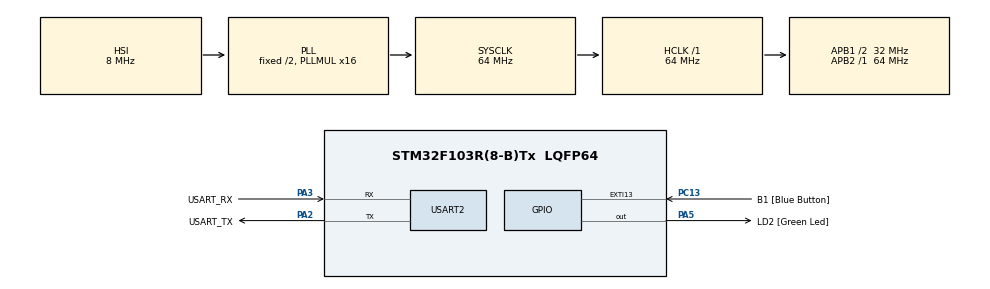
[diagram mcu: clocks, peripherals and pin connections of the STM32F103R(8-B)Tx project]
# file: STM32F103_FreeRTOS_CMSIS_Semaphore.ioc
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FREERTOS.CountingSemaphores01=myCountingSem01,2,Dynamic,NULL,0
FREERTOS.Tasks01=defaultTask,24,256,StartDefaultTask,Default,NULL,Dynamic,NULL,NULL;myTask02,24,256,StartTask02,Default,NULL,Dynamic,NULL,NULL;myTask03,24,256,StartTask03,Default,NULL,Dynamic,NULL,NULL
FREERTOS.configTOTAL_HEAP_SIZE=5000
FREERTOS.configUSE_NEWLIB_REENTRANT=1
Mcu.Family=STM32F1
Mcu.Name=STM32F103R(8-B)Tx
Mcu.Package=LQFP64
NVIC.EXTI15_10_IRQn=true\:5\:0\:false\:false\:true\:true\:true\:true\:true
NVIC.PriorityGroup=NVIC_PRIORITYGROUP_4
NVIC.TIM1_UP_IRQn=true\:15\:0\:false\:false\:true\:false\:false\:true\:true
NVIC.TimeBase=TIM1_UP_IRQn
NVIC.TimeBaseIP=TIM1
PA13.GPIO_Label=TMS
PA13.Mode=Trace_Asynchronous_SW
PA13.Signal=SYS_JTMS-SWDIO
PA14.GPIO_Label=TCK
PA14.Mode=Trace_Asynchronous_SW
PA14.Signal=SYS_JTCK-SWCLK
PA2.GPIO_Label=USART_TX
PA2.GPIO_Mode=GPIO_MODE_AF_PP
PA2.GPIO_PuPd=GPIO_NOPULL
PA2.GPIO_Speed=GPIO_SPEED_FREQ_LOW
PA2.Mode=Asynchronous
PA2.Signal=USART2_TX
PA3.GPIO_Label=USART_RX
PA3.GPIO_Mode=GPIO_MODE_AF_PP
PA3.GPIO_PuPd=GPIO_NOPULL
PA3.GPIO_Speed=GPIO_SPEED_FREQ_LOW
PA3.Mode=Asynchronous
PA3.Signal=USART2_RX
PA5.GPIO_Label=LD2 [Green Led]
PA5.GPIO_ModeDefaultOutputPP=GPIO_MODE_OUTPUT_PP
PA5.GPIO_PuPd=GPIO_NOPULL
PA5.GPIO_Speed=GPIO_SPEED_FREQ_LOW
PA5.Signal=GPIO_Output
PB3.GPIO_Label=SWO
PB3.Mode=Trace_Asynchronous_SW
PB3.Signal=SYS_JTDO-TRACESWO
PC13-TAMPER-RTC.GPIO_Label=B1 [Blue Button]
PC13-TAMPER-RTC.GPIO_PuPd=GPIO_PULLDOWN
PC13-TAMPER-RTC.Signal=GPXTI13
PC14-OSC32_IN.Mode=LSE-External-Oscillator
PC14-OSC32_IN.Signal=RCC_OSC32_IN
PC15-OSC32_OUT.Mode=LSE-External-Oscillator
PC15-OSC32_OUT.Signal=RCC_OSC32_OUT
PD0-OSC_IN.Mode=HSE-External-Clock-Source
PD0-OSC_IN.Signal=RCC_OSC_IN
PD1-OSC_OUT.Mode=HSE-External-Clock-Source
PD1-OSC_OUT.Signal=RCC_OSC_OUT
ProjectManager.HeapSize=0x200
ProjectManager.StackSize=0x400
ProjectManager.TargetToolchain=STM32CubeIDE
RCC.AHBFreq_Value=64000000
RCC.APB1CLKDivider=RCC_HCLK_DIV2
RCC.APB1Freq_Value=32000000
RCC.APB1TimFreq_Value=64000000
RCC.APB2Freq_Value=64000000
RCC.APB2TimFreq_Value=64000000
RCC.HCLKFreq_Value=64000000
RCC.PLLMUL=RCC_PLL_MUL16
RCC.RTCClockSelection=RCC_RTCCLKSOURCE_LSE
RCC.SYSCLKFreq_VALUE=64000000
RCC.SYSCLKSource=RCC_SYSCLKSOURCE_PLLCLK
RCC.USBFreq_Value=64000000
USART2.VirtualMode=VM_ASYNC
VP_FREERTOS_VS_CMSIS_V2.Mode=CMSIS_V2
VP_SYS_VS_tim1.Mode=TIM1
board=NUCLEO-F103RB

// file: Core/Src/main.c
/* USER CODE BEGIN Header */
/**
  ******************************************************************************
  * @file           : main.c
  * @brief          : Main program body
  ******************************************************************************
  * @attention
  *
  * Copyright (c) 2025 STMicroelectronics.
  * All rights reserved.
  *
  * This software is licensed under terms that can be found in the LICENSE file
  * in the root directory of this software component.
  * If no LICENSE file comes with this software, it is provided AS-IS.
  *
  ******************************************************************************
  */
/* USER CODE END Header */
#include "main.h"
#include "cmsis_os.h"

UART_HandleTypeDef huart2;

/* Definitions for defaultTask */
osThreadId_t defaultTaskHandle;
const osThreadAttr_t defaultTask_attributes = {
  .name = "defaultTask",
  .stack_size = 256 * 4,
  .priority = (osPriority_t) osPriorityNormal,
};
/* Definitions for myTask02 */
osThreadId_t myTask02Handle;
const osThreadAttr_t myTask02_attributes = {
  .name = "myTask02",
  .stack_size = 256 * 4,
  .priority = (osPriority_t) osPriorityNormal,
};
/* Definitions for myTask03 */
osThreadId_t myTask03Handle;
const osThreadAttr_t myTask03_attributes = {
  .name = "myTask03",
  .stack_size = 256 * 4,
  .priority = (osPriority_t) osPriorityNormal,
};
/* Definitions for myCountingSem01 */
osSemaphoreId_t myCountingSem01Handle;
const osSemaphoreAttr_t myCountingSem01_attributes = {
  .name = "myCountingSem01"
};

void SystemClock_Config(void);
static void MX_GPIO_Init(void);
static void MX_USART2_UART_Init(void);
void StartDefaultTask(void *argument);
void StartTask02(void *argument);
void StartTask03(void *argument);

/* USER CODE BEGIN PFP */
static void TaskAction(char message);
/* USER CODE END PFP */

int main(void)
{

  /* MCU Configuration--------------------------------------------------------*/

  /* Reset of all peripherals, Initializes the Flash interface and the Systick. */
  HAL_Init();

  /* Configure the system clock */
  SystemClock_Config();

  /* Initialize all configured peripherals */
  MX_GPIO_Init();
  MX_USART2_UART_Init();

  /* Init scheduler */
  osKernelInitialize();

  /* Create the semaphores(s) */
  /* creation of myCountingSem01 */
  myCountingSem01Handle = osSemaphoreNew(2, 0, &myCountingSem01_attributes);

  /* Create the thread(s) */
  /* creation of defaultTask */
  defaultTaskHandle = osThreadNew(StartDefaultTask, NULL, &defaultTask_attributes);

  /* creation of myTask02 */
  myTask02Handle = osThreadNew(StartTask02, NULL, &myTask02_attributes);

  /* creation of myTask03 */
  myTask03Handle = osThreadNew(StartTask03, NULL, &myTask03_attributes);

  /* Start scheduler */
  osKernelStart();

  /* We should never get here as control is now taken by the scheduler */

  /* Infinite loop */
  while (1)
  {

  }
}

void SystemClock_Config(void)
{
  RCC_OscInitTypeDef RCC_OscInitStruct = {0};
  RCC_ClkInitTypeDef RCC_ClkInitStruct = {0};

  /** Initializes the RCC Oscillators according to the specified parameters
  * in the RCC_OscInitTypeDef structure.
  */
  RCC_OscInitStruct.OscillatorType = RCC_OSCILLATORTYPE_HSI;
  RCC_OscInitStruct.HSIState = RCC_HSI_ON;
  RCC_OscInitStruct.HSICalibrationValue = RCC_HSICALIBRATION_DEFAULT;
  RCC_OscInitStruct.PLL.PLLState = RCC_PLL_ON;
  RCC_OscInitStruct.PLL.PLLSource = RCC_PLLSOURCE_HSI_DIV2;
  RCC_OscInitStruct.PLL.PLLMUL = RCC_PLL_MUL16;
  if (HAL_RCC_OscConfig(&RCC_OscInitStruct) != HAL_OK)
  {
    Error_Handler();
  }

  /** Initializes the CPU, AHB and APB buses clocks
  */
  RCC_ClkInitStruct.ClockType = RCC_CLOCKTYPE_HCLK|RCC_CLOCKTYPE_SYSCLK
                              |RCC_CLOCKTYPE_PCLK1|RCC_CLOCKTYPE_PCLK2;
  RCC_ClkInitStruct.SYSCLKSource = RCC_SYSCLKSOURCE_PLLCLK;
  RCC_ClkInitStruct.AHBCLKDivider = RCC_SYSCLK_DIV1;
  RCC_ClkInitStruct.APB1CLKDivider = RCC_HCLK_DIV2;
  RCC_ClkInitStruct.APB2CLKDivider = RCC_HCLK_DIV1;

  if (HAL_RCC_ClockConfig(&RCC_ClkInitStruct, FLASH_LATENCY_2) != HAL_OK)
  {
    Error_Handler();
  }
}

static void MX_USART2_UART_Init(void)
{

  huart2.Instance = USART2;
  huart2.Init.BaudRate = 115200;
  huart2.Init.WordLength = UART_WORDLENGTH_8B;
  huart2.Init.StopBits = UART_STOPBITS_1;
  huart2.Init.Parity = UART_PARITY_NONE;
  huart2.Init.Mode = UART_MODE_TX_RX;
  huart2.Init.HwFlowCtl = UART_HWCONTROL_NONE;
  huart2.Init.OverSampling = UART_OVERSAMPLING_16;
  if (HAL_UART_Init(&huart2) != HAL_OK)
  {
    Error_Handler();
  }

}

static void MX_GPIO_Init(void)
{
  GPIO_InitTypeDef GPIO_InitStruct = {0};

  /* GPIO Ports Clock Enable */
  __HAL_RCC_GPIOC_CLK_ENABLE();
  __HAL_RCC_GPIOD_CLK_ENABLE();
  __HAL_RCC_GPIOA_CLK_ENABLE();
  __HAL_RCC_GPIOB_CLK_ENABLE();

  /*Configure GPIO pin Output Level */
  HAL_GPIO_WritePin(LD2_GPIO_Port, LD2_Pin, GPIO_PIN_RESET);

  /*Configure GPIO pin : B1_Pin */
  GPIO_InitStruct.Pin = B1_Pin;
  GPIO_InitStruct.Mode = GPIO_MODE_IT_RISING;
  GPIO_InitStruct.Pull = GPIO_PULLDOWN;
  HAL_GPIO_Init(B1_GPIO_Port, &GPIO_InitStruct);

  /*Configure GPIO pin : LD2_Pin */
  GPIO_InitStruct.Pin = LD2_Pin;
  GPIO_InitStruct.Mode = GPIO_MODE_OUTPUT_PP;
  GPIO_InitStruct.Pull = GPIO_NOPULL;
  GPIO_InitStruct.Speed = GPIO_SPEED_FREQ_LOW;
  HAL_GPIO_Init(LD2_GPIO_Port, &GPIO_InitStruct);

  /* EXTI interrupt init*/
  HAL_NVIC_SetPriority(EXTI15_10_IRQn, 5, 0);
  HAL_NVIC_EnableIRQ(EXTI15_10_IRQn);

}

/* USER CODE BEGIN 4 */
static void TaskAction(char message) {
	ITM_SendChar(message);
	ITM_SendChar('\n');
}

void HAL_GPIO_EXTI_Callback(uint16_t GPIO_Pin)
{
  /* Prevent unused argument(s) compilation warning */
  //UNUSED(GPIO_Pin);
  /* NOTE: This function Should not be modified, when the callback is needed,
           the HAL_GPIO_EXTI_Callback could be implemented in the user file
   */

	if (GPIO_Pin == B1_Pin) {
		TaskAction('!');
		osSemaphoreRelease(myCountingSem01Handle);
	}
}
/* USER CODE END 4 */

void StartDefaultTask(void *argument)
{
  /* USER CODE BEGIN 5 */
  /* Infinite loop */
  for(;;)
  {
	  osSemaphoreRelease(myCountingSem01Handle);
	  TaskAction('1');
	  osDelay(5000);
  }
  /* USER CODE END 5 */
}

void StartTask02(void *argument)
{
  /* USER CODE BEGIN StartTask02 */
  /* Infinite loop */
  for(;;)
  {
	  osSemaphoreRelease(myCountingSem01Handle);
	  TaskAction('2');
	  osDelay(5000);
  }
  /* USER CODE END StartTask02 */
}

void StartTask03(void *argument)
{
  /* USER CODE BEGIN StartTask03 */
  /* Infinite loop */
  for(;;)
  {
	  osSemaphoreAcquire(myCountingSem01Handle, 10000);
	  osSemaphoreAcquire(myCountingSem01Handle, 10000);
	  TaskAction('3');
  }
  /* USER CODE END StartTask03 */
}

void HAL_TIM_PeriodElapsedCallback(TIM_HandleTypeDef *htim)
{
  if (htim->Instance == TIM1)
  {
    HAL_IncTick();
  }
}

void Error_Handler(void)
{
  __disable_irq();
  while (1)
  {
  }
}
